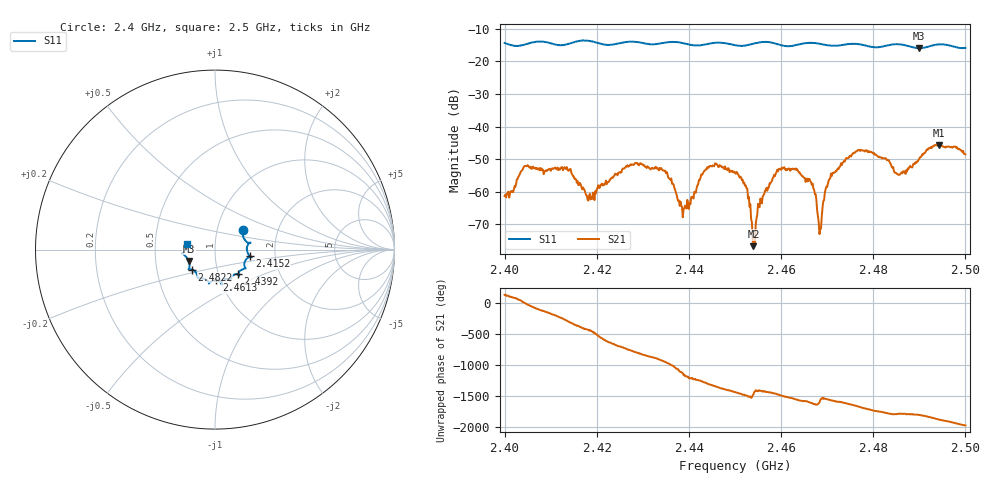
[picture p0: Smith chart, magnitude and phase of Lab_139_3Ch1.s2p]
# Hz S RI R 50
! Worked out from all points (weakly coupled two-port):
!   601 points, 2.4 GHz to 2.5 GHz, reference 50 ohm
!   highest |S21| = -45.60 dB at 2.4943 GHz (marker M1); lowest = -76.7 dB at 2.454 GHz (marker M2)
!   lowest |S11| = -15.9 dB at 2.49 GHz (marker M3), VSWR 1.38, Z = 37 - j4.81 ohm
!   |S11| at or under -10 dB: start of sweep to end of sweep
!   S12 and S22 are empty: the file has one direction only
!   S11 on the Smith chart (normalised r, x): 2.4 GHz: 1.33, +0.31; 2.4152 GHz: 1.48, -0.11; 2.4392 GHz: 1.24, -0.35; 2.4613 GHz: 0.96, -0.34; 2.4822 GHz: 0.76, -0.17; 2.5 GHz: 0.73, +0.05
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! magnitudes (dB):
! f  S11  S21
! 2.4 GHz  -14.4  -61.3
! 2.4047 GHz  -14.7  -52.0
! 2.4152 GHz  -14.1  -56.0
! 2.4167 GHz  -13.6  -58.5
! 2.4333 GHz  -14.6  -53.0
! 2.4392 GHz  -14.6  -64.2
! 2.4442 GHz  -14.6  -52.7
! 2.45 GHz  -15.0  -54.2
! 2.4525 GHz  -15.1  -58.9
! 2.454 GHz  -14.5  -76.7
! 2.4565 GHz  -14.0  -59.7
! 2.4613 GHz  -15.3  -53.4
! 2.4667 GHz  -14.3  -57.8
! 2.4683 GHz  -14.6  -73.0
! 2.4703 GHz  -15.1  -56.5
! 2.4738 GHz  -14.8  -50.7
! 2.4822 GHz  -15.4  -49.7
! 2.4833 GHz  -15.0  -50.3
! 2.4855 GHz  -14.7  -54.8
! 2.49 GHz  -15.9  -49.8
! 2.4943 GHz  -14.8  -45.6
! 2.5 GHz  -15.8  -48.5
